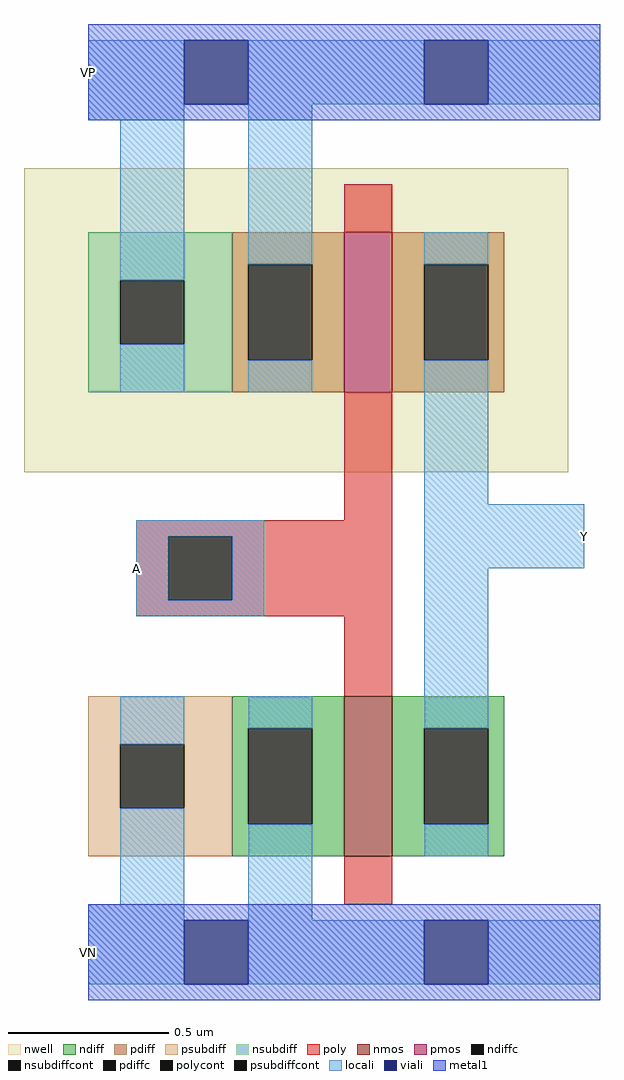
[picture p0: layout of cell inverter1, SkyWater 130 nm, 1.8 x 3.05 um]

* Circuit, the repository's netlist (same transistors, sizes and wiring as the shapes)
* NGSPICE file created from inverter1.ext - technology: sky130A

.subckt inverter1
X0 Y A VN VN sky130_fd_pr__nfet_01v8 ad=0.175 pd=1.7 as=0.175 ps=1.7 w=0.5 l=0.15
X1 Y A VP VP sky130_fd_pr__pfet_01v8 ad=0.175 pd=1.7 as=0.175 ps=1.7 w=0.5 l=0.15
.ends

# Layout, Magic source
magic
tech sky130A
<< nwell >>
rect -100 120 70 215
<< nmos >>
rect 0 0 15 50
<< pmos >>
rect 0 145 15 195
<< ndiff >>
rect -35 40 0 50
rect -35 10 -30 40
rect -10 10 0 40
rect -35 0 0 10
rect 15 40 50 50
rect 15 10 25 40
rect 45 10 50 40
rect 15 0 50 10
<< pdiff >>
rect -35 185 0 195
rect -35 155 -30 185
rect -10 155 0 185
rect -35 145 0 155
rect 15 185 50 195
rect 15 155 25 185
rect 45 155 50 185
rect 15 145 50 155
<< ndiffc >>
rect -30 10 -10 40
rect 25 10 45 40
<< pdiffc >>
rect -30 155 -10 185
rect 25 155 45 185
<< psubdiff >>
rect -80 35 -35 50
rect -80 15 -70 35
rect -50 15 -35 35
rect -80 0 -35 15
<< nsubdiff >>
rect -80 180 -35 195
rect -80 160 -70 180
rect -50 160 -35 180
rect -80 145 -35 160
<< psubdiffcont >>
rect -70 15 -50 35
<< nsubdiffcont >>
rect -70 160 -50 180
<< poly >>
rect 0 195 15 210
rect 0 105 15 145
rect -65 100 15 105
rect -65 80 -55 100
rect -35 80 15 100
rect -65 75 15 80
rect 0 50 15 75
rect 0 -15 15 0
<< polycont >>
rect -55 80 -35 100
<< locali >>
rect -80 230 -50 255
rect -30 235 25 255
rect 45 235 80 255
rect -70 180 -50 230
rect -70 145 -50 160
rect -30 185 -10 235
rect -30 145 -10 155
rect 25 185 45 195
rect 25 110 45 155
rect -65 100 -25 105
rect -65 80 -55 100
rect -35 80 -25 100
rect -65 75 -25 80
rect 25 90 75 110
rect -70 35 -50 50
rect -70 -15 -50 15
rect -80 -40 -50 -15
rect -30 40 -10 50
rect -30 -20 -10 10
rect 25 40 45 90
rect 25 0 45 10
rect -30 -40 25 -20
rect 45 -40 80 -20
<< viali >>
rect -50 235 -30 255
rect 25 235 45 255
rect -50 -40 -30 -20
rect 25 -40 45 -20
<< metal1 >>
rect -80 255 80 260
rect -80 235 -50 255
rect -30 235 25 255
rect 45 235 80 255
rect -80 230 80 235
rect -80 -20 80 -15
rect -80 -40 -50 -20
rect -30 -40 25 -20
rect 45 -40 80 -20
rect -80 -45 80 -40
<< labels >>
rlabel metal1 -80 245 -80 245 7 VP
rlabel poly -65 90 -65 90 7 A
rlabel locali 75 100 75 100 3 Y
rlabel metal1 -80 -30 -80 -30 7 VN
<< end >>
